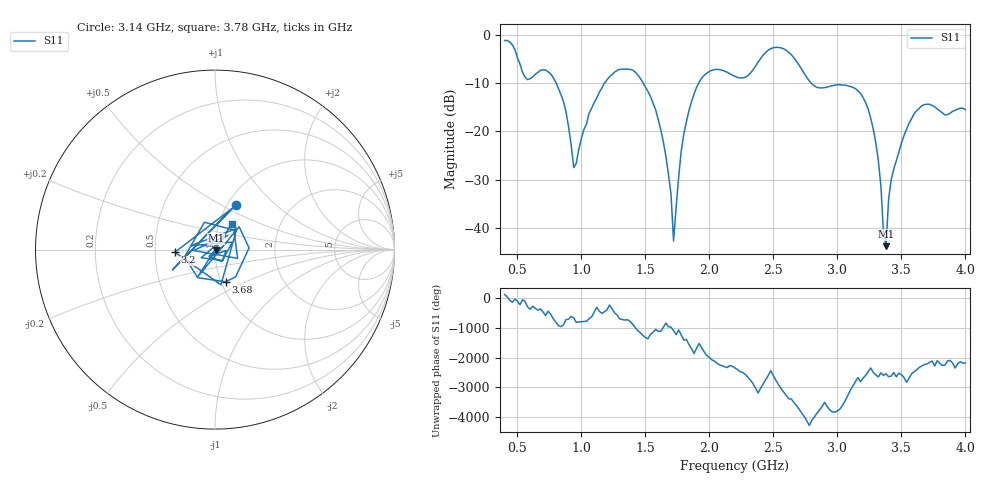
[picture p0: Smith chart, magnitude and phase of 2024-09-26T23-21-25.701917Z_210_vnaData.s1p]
!Created with skrf (http://scikit-rf.org).
# Hz S RI R 50.0
!freq ReS11 ImS11
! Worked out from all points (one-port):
!   181 points, 400 MHz to 4 GHz, reference 50 ohm
!   lowest |S11| = -43.8 dB at 3.38 GHz (marker M1), VSWR 1.01, Z = 50.6 - j0.306 ohm
!   |S11| at or under -10 dB: 802.5 MHz to 1.181 GHz (378.1 MHz wide, 38.1 % of centre); 1.483 GHz to 1.917 GHz (434.2 MHz wide, 25.5 % of centre); 2.794 GHz to end of sweep
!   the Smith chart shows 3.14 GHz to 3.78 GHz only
!   S11 on the Smith chart (normalised r, x): 3.14 GHz: 1.10, +0.60; 3.2 GHz: 0.63, -0.02; 3.68 GHz: 1.05, -0.39; 3.78 GHz: 1.15, +0.34
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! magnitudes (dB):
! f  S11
! 400 MHz  -1.2
! 560 MHz  -8.8
! 720 MHz  -7.3
! 860 MHz  -13.9
! 940 MHz  -27.5
! 1.06 GHz  -16.3
! 1.3 GHz  -7.2
! 1.42 GHz  -7.7
! 1.58 GHz  -15.6
! 1.68 GHz  -28.9
! 1.72 GHz  -42.7
! 1.76 GHz  -29.4
! 1.82 GHz  -18.1
! 1.92 GHz  -9.8
! 2.2 GHz  -8.6
! 2.5 GHz  -2.7
! 2.66 GHz  -4.8
! 2.84 GHz  -10.9
! 3.1 GHz  -10.7
! 3.14 GHz  -11.2
! 3.2 GHz  -13.0
! 3.3 GHz  -22.4
! 3.38 GHz  -43.8
! 3.42 GHz  -30.1
! 3.56 GHz  -18.4
! 3.68 GHz  -14.5
! 3.78 GHz  -15.4
! 4 GHz  -15.5
